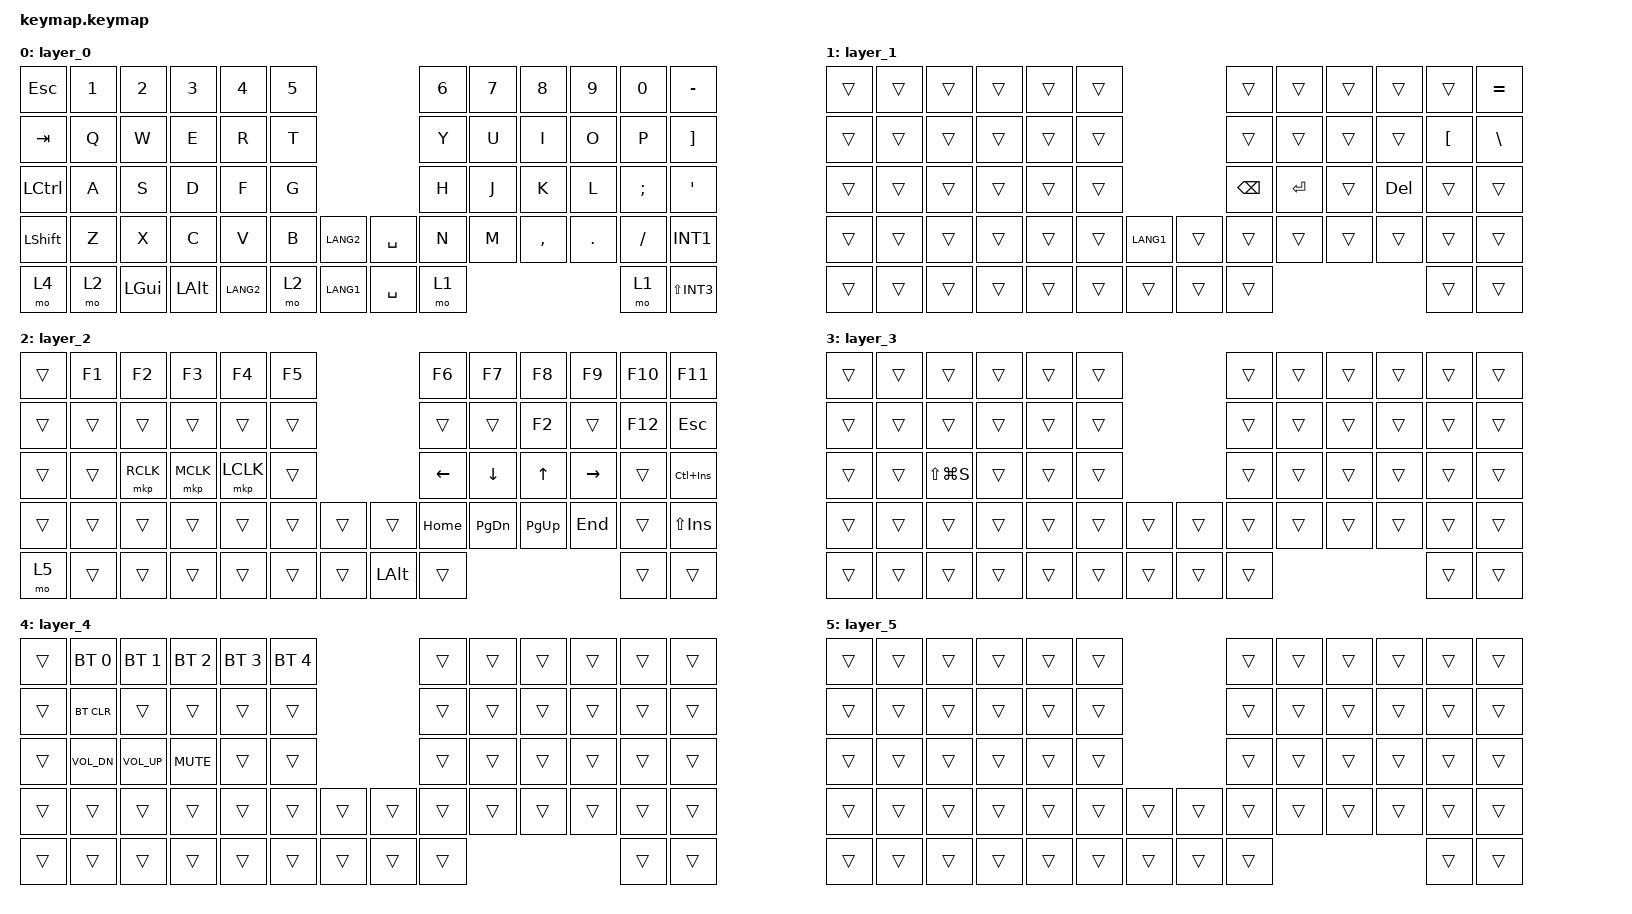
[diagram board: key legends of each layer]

#include <behaviors.dtsi>
#include <dt-bindings/zmk/keys.h>
#include <dt-bindings/zmk/mouse.h>
#include <dt-bindings/zmk/bt.h>

/*
 * OS が日本語(JIS)配列のときに記号を意図どおり出すための定義。
 * ZMK は US 配列の HID コードを送るため、JIS の OS では記号がずれる。
 * 例) &kp LBKT は JIS OS では @ になるので、[ を出すには RBKT を送る。
 * (OS を US 配列に変更する場合は、このブロックを削除して素の LBKT 等に戻すこと)
 */
#define JP_MINUS  MINUS      /* -  */
#define JP_CARET  EQUAL      /* ^  */
#define JP_YEN    INT3       /* ¥ */
#define JP_AT     LBKT       /* @  */
#define JP_LBKT   RBKT       /* [  */
#define JP_SEMI   SEMI       /* ;  */
#define JP_COLON  SQT        /* :  */
#define JP_RBKT   BSLH       /* ]  */
#define JP_BSLH   INT1       /* バックスラッシュ (ろ) */
#define JP_ZKHK   GRAVE      /* 半角/全角 */
#define JP_EQUAL  LS(MINUS)  /* =  */
#define JP_TILDE  LS(EQUAL)  /* ~  */
#define JP_PIPE   LS(INT3)   /* |  */
#define JP_GRAVE  LS(LBKT)   /* `  */
#define JP_LBRC   LS(RBKT)   /* {  */
#define JP_PLUS   LS(SEMI)   /* +  */
#define JP_ASTRK  LS(SQT)    /* *  */
#define JP_RBRC   LS(BSLH)   /* }  */
#define JP_UNDER  LS(INT1)   /* _  */
#define JP_DQT    LS(N2)     /* "  */
#define JP_AMPS   LS(N6)     /* &  */
#define JP_SQT    LS(N7)     /* '  */
#define JP_LPAR   LS(N8)     /* (  */
#define JP_RPAR   LS(N9)     /* )  */

/ {
    conditional_layers {
        compatible = "zmk,conditional-layers";
        tri_layer {
            if-layers = <1 2>;
            then-layer = <3>;
        };
    };

    keymap {
        compatible = "zmk,keymap";

        layer_0 {
            bindings =<
                &kp ESC   &kp N1       &kp N2                    &kp N3       &kp N4       &kp N5                           &kp N6   &kp N7    &kp N8    &kp N9    &kp N0      &kp JP_MINUS
                &kp TAB   &kp Q        &kp W                     &kp E        &kp R        &kp T                            &kp Y    &kp U     &kp I     &kp O     &kp P       &kp JP_LBKT
                &kp LCTRL &kp A        &kp S                     &kp D        &kp F        &kp G                            &kp H    &kp J     &kp K     &kp L     &kp JP_SEMI &kp JP_COLON
                &kp LSHFT &kp Z        &kp X                     &kp C        &kp V        &kp B        &kp LANG2 &kp SPACE &kp N    &kp M     &kp COMMA &kp DOT   &kp FSLH    &kp JP_BSLH
                &mo 4     &mo 2        &kp LGUI                  &kp LALT     &kp LANG2    &mo 2        &kp LANG1 &kp SPACE &mo 1                                  &mo 1       &kp JP_PIPE
            >;
        };

        layer_1 {
            bindings =<
                &trans    &trans       &trans                    &trans       &trans       &trans                           &trans   &trans    &trans    &trans    &trans      &kp JP_CARET
                &trans    &trans       &trans                    &trans       &trans       &trans                           &trans   &trans    &trans    &trans    &kp JP_AT   &kp JP_RBKT
                &trans    &trans       &trans                    &trans       &trans       &trans                           &kp BSPC &kp RET   &trans    &kp DEL   &trans      &trans
                &trans    &trans       &trans                    &trans       &trans       &trans       &kp LANG1 &trans    &trans   &trans    &trans    &trans    &trans      &trans
                &trans    &trans       &trans                    &trans       &trans       &trans       &trans    &trans    &trans                                 &trans      &trans
            >;
        };

        layer_2 {
            bindings =<
                &trans    &kp F1       &kp F2                    &kp F3       &kp F4       &kp F5                           &kp F6   &kp F7    &kp F8    &kp F9    &kp F10     &kp F11
                &trans    &trans       &trans                    &trans       &trans       &trans                           &trans   &trans    &kp F2    &trans    &kp F12     &kp ESC
                &trans    &trans       &mkp RCLK                 &mkp MCLK    &mkp LCLK    &trans                           &kp LEFT &kp DOWN  &kp UP    &kp RIGHT &trans      &kp LC(INS)
                &trans    &trans       &trans                    &trans       &trans       &trans       &trans    &trans    &kp HOME &kp PG_DN &kp PG_UP &kp END   &trans      &kp LS(INS)
                &mo 5     &trans       &trans                    &trans       &trans       &trans       &trans    &kp LALT  &trans                                 &trans      &trans
            >;
        };

        layer_3 {
            bindings =<
                &trans    &trans       &trans                    &trans       &trans       &trans                           &trans   &trans    &trans    &trans    &trans      &trans
                &trans    &trans       &trans                    &trans       &trans       &trans                           &trans   &trans    &trans    &trans    &trans      &trans
                &trans    &trans       &kp LS(LG(S))             &trans       &trans       &trans                           &trans   &trans    &trans    &trans    &trans      &trans
                &trans    &trans       &trans                    &trans       &trans       &trans       &trans    &trans    &trans   &trans    &trans    &trans    &trans      &trans
                &trans    &trans       &trans                    &trans       &trans       &trans       &trans    &trans    &trans                                 &trans      &trans
            >;
        };

        layer_4 {
            bindings =<
                &trans    &bt BT_SEL 0 &bt BT_SEL 1              &bt BT_SEL 2 &bt BT_SEL 3 &bt BT_SEL 4                     &trans   &trans    &trans    &trans    &trans      &trans
                &trans    &bt BT_CLR   &trans                    &trans       &trans       &trans                           &trans   &trans    &trans    &trans    &trans      &trans
                &trans    &kp C_VOL_DN &kp C_VOL_UP              &kp C_MUTE   &trans       &trans                           &trans   &trans    &trans    &trans    &trans      &trans
                &trans    &trans       &trans                    &trans       &trans       &trans       &trans    &trans    &trans   &trans    &trans    &trans    &trans      &trans
                &trans    &trans       &trans                    &trans       &trans       &trans       &trans    &trans    &trans                                 &trans      &trans
            >;
        };

        /*
         * layer_5: 横スクロール用。layer_2 の Shift 位置 (&mo 5) を押している間だけ有効。
         * キー自体はすべて素通しで、トラックボールを縦スクロールから横スクロールに
         * 切り替えるためだけに存在する。横スクロール時もボールは縦 (前後) に
         * 転がす (前 = 左)
         * (gridball61lp_right.overlay の h_scroller override を参照)。
         */
        layer_5 {
            bindings =<
                &trans    &trans       &trans                    &trans       &trans       &trans                           &trans   &trans    &trans    &trans    &trans      &trans
                &trans    &trans       &trans                    &trans       &trans       &trans                           &trans   &trans    &trans    &trans    &trans      &trans
                &trans    &trans       &trans                    &trans       &trans       &trans                           &trans   &trans    &trans    &trans    &trans      &trans
                &trans    &trans       &trans                    &trans       &trans       &trans       &trans    &trans    &trans   &trans    &trans    &trans    &trans      &trans
                &trans    &trans       &trans                    &trans       &trans       &trans       &trans    &trans    &trans                                 &trans      &trans
            >;
        };
    };
};
